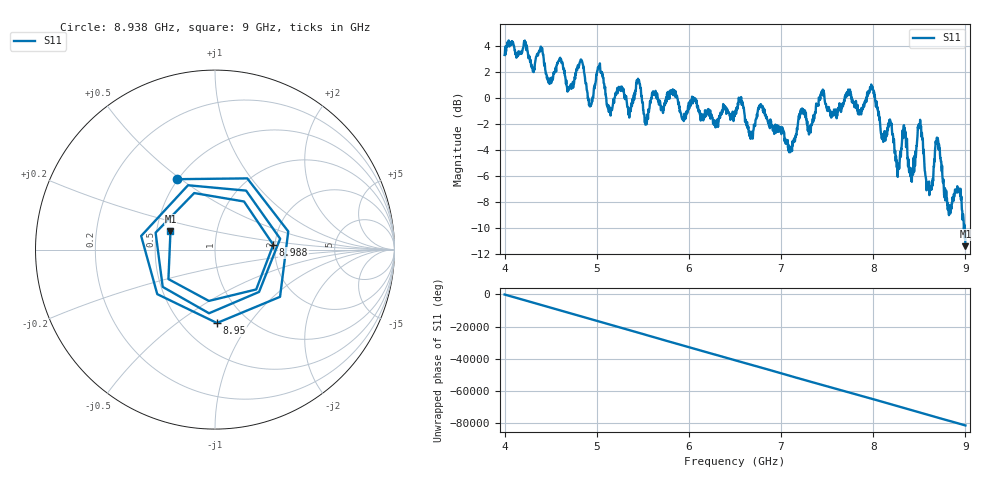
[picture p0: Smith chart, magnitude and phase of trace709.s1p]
! Created with skrf 1.8.0 (http://scikit-rf.org).
# Hz S RI R 50.0
!freq ReS11 ImS11
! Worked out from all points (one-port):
!   1601 points, 4 GHz to 9 GHz, reference 50 ohm
!   lowest |S11| = -11.4 dB at 9 GHz (marker M1), VSWR 1.74, Z = 29.6 + j6.64 ohm
!   |S11| at or under -10 dB: 8.98356 GHz to 8.985016 GHz (1.457 MHz wide, 0.0162 % of centre); 8.991288 GHz to end of sweep
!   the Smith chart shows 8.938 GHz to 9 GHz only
!   S11 on the Smith chart (normalised r, x): 8.938 GHz: 0.49, +0.48; 8.95 GHz: 0.73, -0.71; 8.988 GHz: 1.96, +0.12; 9 GHz: 0.59, +0.13
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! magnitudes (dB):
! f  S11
! 4 GHz  3.3
! 4.625 GHz  2.8
! 4.706 GHz  0.9
! 4.838 GHz  2.9
! 4.928 GHz  -0.6
! 5.022 GHz  2.3
! 5.141 GHz  -1.1
! 5.25 GHz  0.7
! 5.453 GHz  1.4
! 5.534 GHz  -1.7
! 5.875 GHz  0.0
! 6.5 GHz  -1.3
! 7.125 GHz  -3.7
! 7.434 GHz  0.3
! 7.75 GHz  0.5
! 7.991 GHz  0.9
! 8.259 GHz  -4.9
! 8.328 GHz  -2.3
! 8.375 GHz  -4.6
! 8.428 GHz  -5.6
! 8.506 GHz  -2.1
! 8.597 GHz  -6.9
! 8.697 GHz  -3.2
! 8.822 GHz  -9.0
! 8.938 GHz  -7.0
! 8.95 GHz  -7.8
! 8.988 GHz  -9.7
! 9 GHz  -11.4
